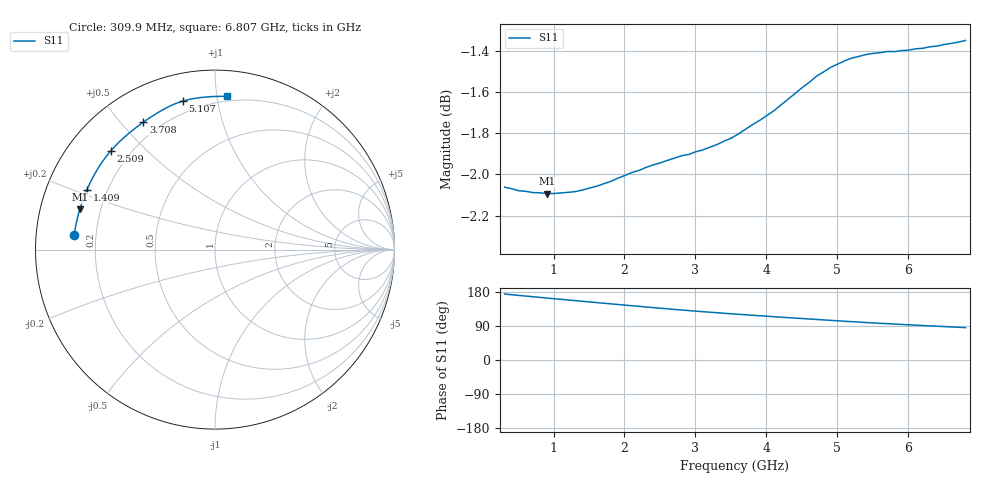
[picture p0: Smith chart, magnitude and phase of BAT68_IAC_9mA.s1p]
! Infineon Technologies  Discrete & RF Semiconductors
! BAT68
! IAC = 9 mA
! One-Port S-Parameters
# Hz  S  MA  R  50
!f  S11
!Hz  Mag  Ang
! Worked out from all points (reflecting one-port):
!   66 points, 309.9 MHz to 6.807 GHz, reference 50 ohm
!   lowest |S11| = -2.1 dB at 909.5 MHz (marker M1), VSWR 8.34, Z = 6.12 + j7.17 ohm
!   phase of S11 starts at 174 deg and turns -89 deg over the sweep
!   S11 on the Smith chart (normalised r, x): 309.9 MHz: 0.12, +0.05; 1.409 GHz: 0.12, +0.22; 2.509 GHz: 0.13, +0.39; 3.708 GHz: 0.14, +0.58; 5.107 GHz: 0.14, +0.80; 6.807 GHz: 0.17, +1.07
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3.0985e8  0.7887 174.1
6.097e8  0.7869 168.7
9.0955e8  0.7858 163.4
1.0095e9  0.7859 161.7
1.2094e9  0.7864 158.3
1.4093e9  0.7874 154.8
1.70915e9  0.7902 149.8
2.009e9  0.7939 144.7
2.2089e9  0.7962 141.5
2.30885e9  0.7975 139.8
2.50875e9  0.7995 136.6
2.70865e9  0.8016 133.4
2.8086e9  0.8027 131.9
3.0085e9  0.8045 128.9
3.2084e9  0.8066 126.0
3.6082e9  0.8126 120.6
3.70815e9  0.8147 119.3
4.008e9  0.821 115.5
4.4078e9  0.8312 110.6
4.70765e9  0.8392 107.0
4.90755e9  0.8434 104.6
5.10745e9  0.8465 102.2
5.2074e9  0.8478 101.1
5.4073e9  0.8495 98.9
5.6072e9  0.8503 96.8
6.007e9  0.8516 92.9
6.30685e9  0.8532 90.0
6.8066e9  0.8562 85.4
